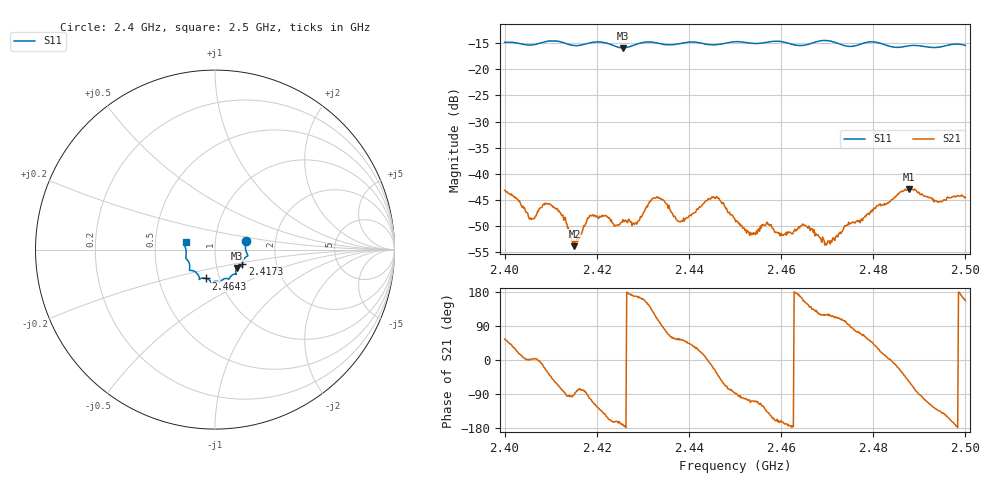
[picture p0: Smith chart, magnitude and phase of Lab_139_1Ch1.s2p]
# Hz S RI R 50
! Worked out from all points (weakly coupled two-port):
!   601 points, 2.4 GHz to 2.5 GHz, reference 50 ohm
!   highest |S21| = -42.90 dB at 2.4878 GHz (marker M1); lowest = -53.8 dB at 2.4152 GHz (marker M2)
!   lowest |S11| = -15.9 dB at 2.4257 GHz (marker M3), VSWR 1.38, Z = 62.5 - j13.1 ohm
!   |S11| at or under -10 dB: start of sweep to end of sweep
!   S12 and S22 are empty: the file has one direction only
!   S11 on the Smith chart (normalised r, x): 2.4 GHz: 1.41, +0.14; 2.4173 GHz: 1.34, -0.23; 2.4643 GHz: 0.86, -0.28; 2.5 GHz: 0.72, +0.06
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2.4e9  0.1735 0.0496  0.00396 0.00575  0 0  0 0
2.405833e9  0.1703 0.00309  0.00368 0.000122  0 0  0 0
2.408833e9  0.1812 -0.0276  0.0048 -0.00218  0 0  0 0
2.411e9  0.1832 -0.034  0.00241 -0.00402  0 0  0 0
2.415167e9  0.158 -0.0577  -2.8e-06 -0.00204  0 0  0 0
2.416667e9  0.1528 -0.075  0.000514 -0.00262  0 0  0 0
2.417333e9  0.1522 -0.0823  0.0005 -0.00311  0 0  0 0
2.419e9  0.1533 -0.0948  -0.00136 -0.0038  0 0  0 0
2.425667e9  0.1228 -0.1025  -0.0036 -0.000637  0 0  0 0
2.428667e9  0.1156 -0.1293  -0.00324 0.000685  0 0  0 0
2.433333e9  0.1126 -0.1366  -0.00146 0.00578  0 0  0 0
2.437833e9  0.0836 -0.1537  0.00193 0.00294  0 0  0 0
2.4455e9  0.0512 -0.163  0.00545 -0.00246  0 0  0 0
2.45e9  0.0297 -0.1809  0.000128 -0.00368  0 0  0 0
2.453667e9  0.0125 -0.1765  -0.000835 -0.00257  0 0  0 0
2.464333e9  -0.0501 -0.1606  -0.00305 0.000821  0 0  0 0
2.466667e9  -0.0764 -0.1599  -0.00207 0.00212  0 0  0 0
2.470167e9  -0.0874 -0.1657  -0.00108 0.00202  0 0  0 0
2.483333e9  -0.1408 -0.0895  0.00527 0.000255  0 0  0 0
2.487833e9  -0.1596 -0.0517  0.00376 -0.00609  0 0  0 0
2.493667e9  -0.1612 -0.00555  -0.00356 -0.00426  0 0  0 0
2.5e9  -0.1637 0.0419  -0.0055 0.00239  0 0  0 0
